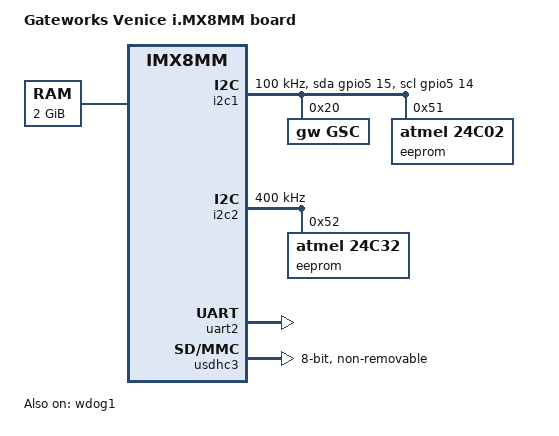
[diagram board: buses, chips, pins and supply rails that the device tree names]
// SPDX-License-Identifier: GPL-2.0+
/*
 * Copyright 2021 Gateworks Corporation
 */

/dts-v1/;

#include "imx8mm.dtsi"

/ {
	model = "Gateworks Venice i.MX8MM board";
	compatible = "gw,imx8mm-venice", "fsl,imx8mm";

	chosen {
		stdout-path = &uart2;
	};

	memory@40000000 {
		device_type = "memory";
		reg = <0x0 0x40000000 0 0x80000000>;
	};
};

&i2c1 {
	clock-frequency = <100000>;
	pinctrl-names = "default", "gpio";
	pinctrl-0 = <&pinctrl_i2c1>;
	pinctrl-1 = <&pinctrl_i2c1_gpio>;
	scl-gpios = <&gpio5 14 GPIO_ACTIVE_HIGH>;
	sda-gpios = <&gpio5 15 GPIO_ACTIVE_HIGH>;
	status = "okay";

	gsc: gsc@20 {
		compatible = "gw,gsc";
		reg = <0x20>;
		#address-cells = <1>;
		#size-cells = <0>;
	};

	eeprom@51 {
		compatible = "atmel,24c02";
		reg = <0x51>;
		pagesize = <16>;
	};
};

&i2c2 {
	clock-frequency = <400000>;
	pinctrl-names = "default";
	pinctrl-0 = <&pinctrl_i2c2>;
	status = "okay";

	eeprom@52 {
		compatible = "atmel,24c32";
		reg = <0x52>;
		pagesize = <32>;
	};
};

/* console */
&uart2 {
	pinctrl-names = "default";
	pinctrl-0 = <&pinctrl_uart2>;
	status = "okay";
};

/* eMMC */
&usdhc3 {
	assigned-clocks = <&clk IMX8MM_CLK_USDHC3_ROOT>;
	assigned-clock-rates = <400000000>;
	pinctrl-names = "default", "state_100mhz", "state_200mhz";
	pinctrl-0 = <&pinctrl_usdhc3>;
	pinctrl-1 = <&pinctrl_usdhc3_100mhz>;
	pinctrl-2 = <&pinctrl_usdhc3_200mhz>;
	bus-width = <8>;
	non-removable;
	status = "okay";
};

&wdog1 {
	pinctrl-names = "default";
	pinctrl-0 = <&pinctrl_wdog>;
	fsl,ext-reset-output;
	status = "okay";
};

&iomuxc {
	pinctrl_i2c1: i2c1grp {
		fsl,pins = <
			MX8MM_IOMUXC_I2C1_SCL_I2C1_SCL		0x400001c3
			MX8MM_IOMUXC_I2C1_SDA_I2C1_SDA		0x400001c3
		>;
	};

	pinctrl_i2c1_gpio: i2c1grp-gpio-grp {
		fsl,pins = <
			MX8MM_IOMUXC_I2C1_SCL_GPIO5_IO14	0x400001c3
			MX8MM_IOMUXC_I2C1_SDA_GPIO5_IO15	0x400001c3
		>;
	};

	pinctrl_i2c2: i2c2grp {
		fsl,pins = <
			MX8MM_IOMUXC_I2C2_SCL_I2C2_SCL		0x400001c3
			MX8MM_IOMUXC_I2C2_SDA_I2C2_SDA		0x400001c3
		>;
	};

	pinctrl_uart2: uart2grp {
		fsl,pins = <
			MX8MM_IOMUXC_UART2_RXD_UART2_DCE_RX	0x140
			MX8MM_IOMUXC_UART2_TXD_UART2_DCE_TX	0x140
		>;
	};

	pinctrl_usdhc3: usdhc3grp {
		fsl,pins = <
			MX8MM_IOMUXC_NAND_WE_B_USDHC3_CLK	0x190
			MX8MM_IOMUXC_NAND_WP_B_USDHC3_CMD	0x1d0
			MX8MM_IOMUXC_NAND_DATA04_USDHC3_DATA0	0x1d0
			MX8MM_IOMUXC_NAND_DATA05_USDHC3_DATA1	0x1d0
			MX8MM_IOMUXC_NAND_DATA06_USDHC3_DATA2	0x1d0
			MX8MM_IOMUXC_NAND_DATA07_USDHC3_DATA3	0x1d0
			MX8MM_IOMUXC_NAND_RE_B_USDHC3_DATA4	0x1d0
			MX8MM_IOMUXC_NAND_CE2_B_USDHC3_DATA5	0x1d0
			MX8MM_IOMUXC_NAND_CE3_B_USDHC3_DATA6	0x1d0
			MX8MM_IOMUXC_NAND_CLE_USDHC3_DATA7	0x1d0
			MX8MM_IOMUXC_NAND_CE1_B_USDHC3_STROBE	0x190
		>;
	};

	pinctrl_usdhc3_100mhz: usdhc3grp100mhz {
		fsl,pins = <
			MX8MM_IOMUXC_NAND_WE_B_USDHC3_CLK	0x194
			MX8MM_IOMUXC_NAND_WP_B_USDHC3_CMD	0x1d4
			MX8MM_IOMUXC_NAND_DATA04_USDHC3_DATA0	0x1d4
			MX8MM_IOMUXC_NAND_DATA05_USDHC3_DATA1	0x1d4
			MX8MM_IOMUXC_NAND_DATA06_USDHC3_DATA2	0x1d4
			MX8MM_IOMUXC_NAND_DATA07_USDHC3_DATA3	0x1d4
			MX8MM_IOMUXC_NAND_RE_B_USDHC3_DATA4	0x1d4
			MX8MM_IOMUXC_NAND_CE2_B_USDHC3_DATA5	0x1d4
			MX8MM_IOMUXC_NAND_CE3_B_USDHC3_DATA6	0x1d4
			MX8MM_IOMUXC_NAND_CLE_USDHC3_DATA7	0x1d4
			MX8MM_IOMUXC_NAND_CE1_B_USDHC3_STROBE	0x194
		>;
	};

	pinctrl_usdhc3_200mhz: usdhc3grp200mhz {
		fsl,pins = <
			MX8MM_IOMUXC_NAND_WE_B_USDHC3_CLK	0x196
			MX8MM_IOMUXC_NAND_WP_B_USDHC3_CMD	0x1d6
			MX8MM_IOMUXC_NAND_DATA04_USDHC3_DATA0	0x1d6
			MX8MM_IOMUXC_NAND_DATA05_USDHC3_DATA1	0x1d6
			MX8MM_IOMUXC_NAND_DATA06_USDHC3_DATA2	0x1d6
			MX8MM_IOMUXC_NAND_DATA07_USDHC3_DATA3	0x1d6
			MX8MM_IOMUXC_NAND_RE_B_USDHC3_DATA4	0x1d6
			MX8MM_IOMUXC_NAND_CE2_B_USDHC3_DATA5	0x1d6
			MX8MM_IOMUXC_NAND_CE3_B_USDHC3_DATA6	0x1d6
			MX8MM_IOMUXC_NAND_CLE_USDHC3_DATA7	0x1d6
			MX8MM_IOMUXC_NAND_CE1_B_USDHC3_STROBE	0x196
		>;
	};

	pinctrl_wdog: wdoggrp {
		fsl,pins = <
			MX8MM_IOMUXC_GPIO1_IO02_WDOG1_WDOG_B	0xc6
		>;
	};
};
